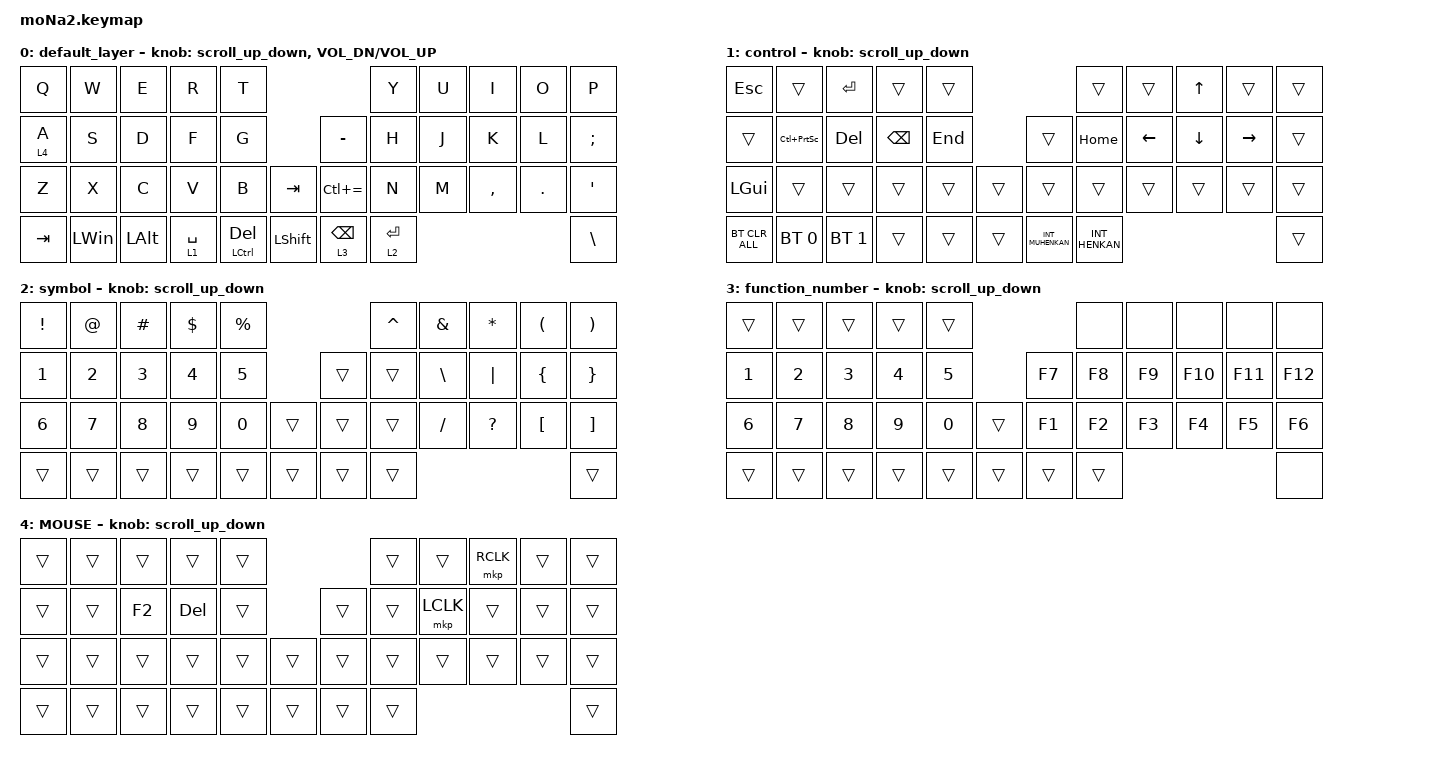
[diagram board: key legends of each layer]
#include <behaviors.dtsi>
#include <dt-bindings/zmk/bt.h>
#include <dt-bindings/zmk/keys.h>
#include <dt-bindings/zmk/pointing.h>

#define ZMK_POINTING_DEFAULT_SCRL_VAL 100
#define MOUSE 5
#define SCROLL 6

&mt {
    flavor = "balanced";
    quick-tap-ms = <0>;
};

/ {
    combos { compatible = "zmk,combos"; };

    macros {
        to_layer_0: to_layer_0 {
            compatible = "zmk,behavior-macro";
            #binding-cells = <0>;
            bindings = <&kp LEFT_CONTROL &kp LEFT_SHIFT &kp S>;
            label = "TO_LAYER_0";
        };
    };

    behaviors {
        lt_to_layer_0: lt_to_layer_0 {
            compatible = "zmk,behavior-hold-tap";
            label = "LAYER_TAP_TO_0";
            bindings = <&mo>, <&to_layer_0>;

            #binding-cells = <2>;
            tapping-term-ms = <200>;
        };

        scroll_up_down: behavior_sensor_rotate_mouse_wheel_up_down {
            compatible = "zmk,behavior-sensor-rotate";
            #sensor-binding-cells = <0>;
            bindings = <&msc SCRL_UP>, <&msc SCRL_DOWN>;

            tap-ms = <20>;
        };
    };

    keymap {
        compatible = "zmk,keymap";

        default_layer {
            bindings = <
&kp Q    &kp W         &kp E         &kp R        &kp T                                                    &kp Y        &kp U  &kp I      &kp O    &kp P
&lt 4 A  &kp S         &kp D         &kp F        &kp G                                   &kp MINUS        &kp H        &kp J  &kp K      &kp L    &kp SEMICOLON
&kp Z    &kp X         &kp C         &kp V        &kp B                 &kp TAB           &kp LC(EQUAL)    &kp N        &kp M  &kp COMMA  &kp DOT  &kp SINGLE_QUOTE
&kp TAB  &kp LEFT_WIN  &kp LEFT_ALT  &lt 1 SPACE  &mt LEFT_CONTROL DEL  &kp LEFT_SHIFT    &lt 3 BACKSPACE  &lt 2 ENTER                             &kp BACKSLASH
            >;

            sensor-bindings =
                <&scroll_up_down>,
                <&inc_dec_kp C_VOL_DN C_VOL_UP>;
        };

        control {
            bindings = <
&kp ESCAPE      &trans               &kp ENTER     &trans         &trans                               &trans          &trans          &kp UP          &trans           &trans
&trans          &kp LC(PRINTSCREEN)  &kp DELETE    &kp BACKSPACE  &kp END            &trans            &kp HOME        &kp LEFT_ARROW  &kp DOWN_ARROW  &kp RIGHT_ARROW  &trans
&kp LEFT_GUI    &trans               &trans        &trans         &trans   &trans    &trans            &trans          &trans          &trans          &trans           &trans
&bt BT_CLR_ALL  &bt BT_SEL 0         &bt BT_SEL 1  &trans         &trans   &trans    &kp INT_MUHENKAN  &kp INT_HENKAN                                                   &trans
            >;

            sensor-bindings = <&scroll_up_down>;
        };

        symbol {
            bindings = <
&kp EXCL      &kp AT        &kp HASH      &kp DLLR      &kp PERCENT                    &kp CARET  &kp AMPERSAND  &kp ASTRK     &kp LEFT_PARENTHESIS  &kp RIGHT_PARENTHESIS
&kp NUMBER_1  &kp NUMBER_2  &kp NUMBER_3  &kp NUMBER_4  &kp N5                 &trans  &trans     &kp BACKSLASH  &kp PIPE      &kp LEFT_BRACE        &kp RIGHT_BRACE
&kp NUMBER_6  &kp N7        &kp N8        &kp N9        &kp N0       &trans    &trans  &trans     &kp SLASH      &kp QUESTION  &kp LEFT_BRACKET      &kp RIGHT_BRACKET
&trans        &trans        &trans        &trans        &trans       &trans    &trans  &trans                                                        &trans
            >;

            sensor-bindings = <&scroll_up_down>;
        };

        function_number {
            bindings = <
&trans        &trans        &trans        &trans        &trans                          &none   &none   &none    &none    &none
&kp NUMBER_1  &kp NUMBER_2  &kp NUMBER_3  &kp NUMBER_4  &kp NUMBER_5            &kp F7  &kp F8  &kp F9  &kp F10  &kp F11  &kp F12
&kp NUMBER_6  &kp NUMBER_7  &kp NUMBER_8  &kp NUMBER_9  &kp NUMBER_0  &trans    &kp F1  &kp F2  &kp F3  &kp F4   &kp F5   &kp F6
&trans        &trans        &trans        &trans        &trans        &trans    &trans  &trans                            &none
            >;

            sensor-bindings = <&scroll_up_down>;
        };

        MOUSE {
            bindings = <
&trans  &trans  &trans  &trans      &trans                    &trans  &trans     &mkp RCLK  &trans  &trans
&trans  &trans  &kp F2  &kp DELETE  &trans            &trans  &trans  &mkp LCLK  &trans     &trans  &trans
&trans  &trans  &trans  &trans      &trans  &trans    &trans  &trans  &trans     &trans     &trans  &trans
&trans  &trans  &trans  &trans      &trans  &trans    &trans  &trans                                &trans
            >;

            sensor-bindings = <&scroll_up_down>;
        };
    };
};
